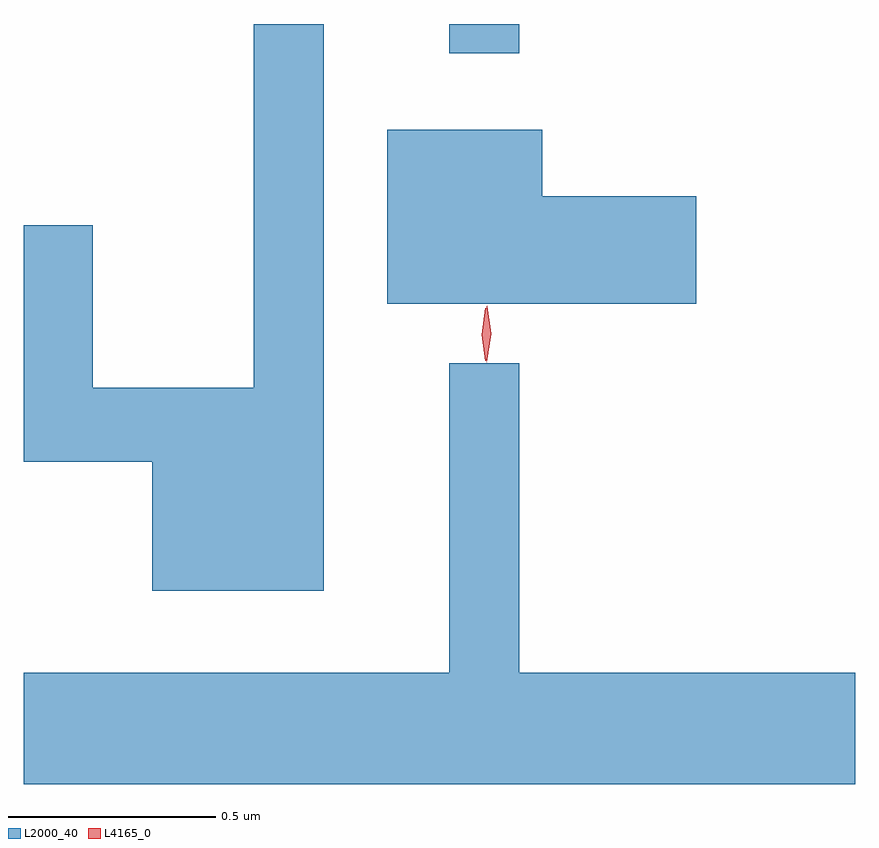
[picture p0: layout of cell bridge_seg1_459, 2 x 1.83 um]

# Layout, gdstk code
import gdstk
lib = gdstk.Library(unit=1e-6, precision=1e-09)
def R(c, l, rs):  # rectangles x0, y0, x1, y1
    for r in rs: c.add(gdstk.rectangle(r[:2], r[2:], *l))
def P(c, l, *ps):  # polygons
    for p in ps: c.add(gdstk.Polygon(p, *l))
L2000_40 = (2000, 40)
L4165_0 = (4165, 0)

bridge_seg1_459 = lib.new_cell('bridge_seg1_459')
R(bridge_seg1_459, L2000_40, [(207.501,903.553,207.669,903.623)])
P(bridge_seg1_459, L2000_40, [(207.199,903.623),(207.031,903.623),(207.031,902.749),(206.644,902.749),(206.644,903.139),(206.477,903.139),(206.477,902.571),(206.786,902.571),(206.786,902.261),(207.199,902.261)],
  [(208.094,903.209),(207.724,903.209),(207.724,903.369),(207.351,903.369),(207.351,902.951),(208.094,902.951)],
  [(208.477,902.064),(207.669,902.064),(207.669,902.808),(207.501,902.808),(207.501,902.064),(206.477,902.064),(206.477,901.796),(208.477,901.796)])
P(bridge_seg1_459, L4165_0, [(207.587,902.813),(207.587,902.813),(207.578,902.876),(207.587,902.94),(207.587,902.94),(207.588,902.94),(207.597,902.876),(207.588,902.813)],
  [(207.59,902.81),(207.59,902.81),(207.581,902.878),(207.591,902.945),(207.592,902.946),(207.592,902.945),(207.601,902.878),(207.59,902.81)])

lib.write_gds('bridge_seg1_459.gds')
